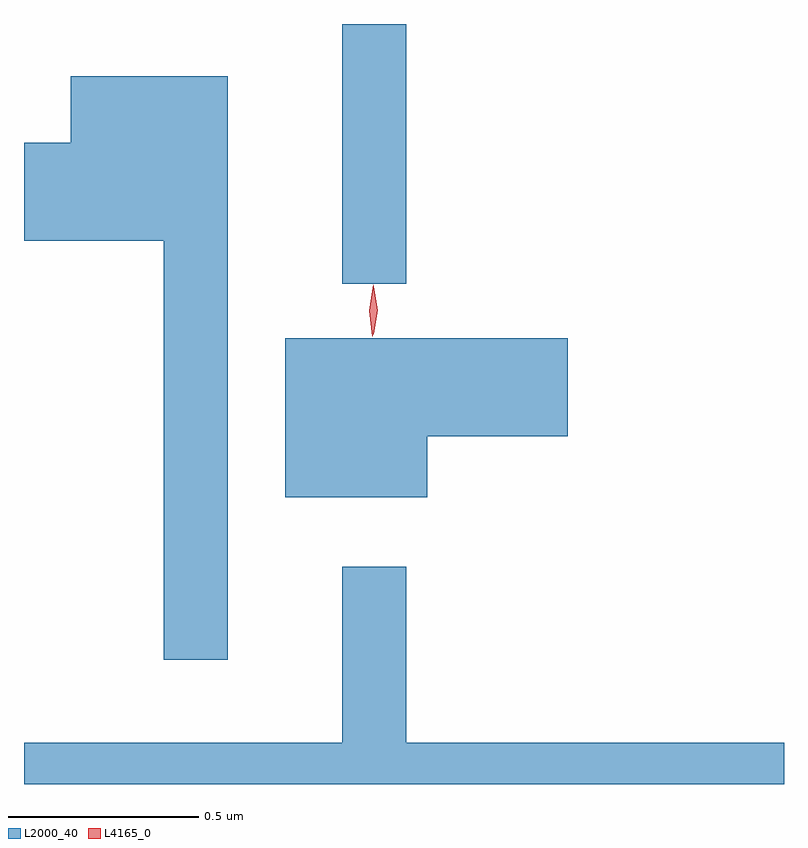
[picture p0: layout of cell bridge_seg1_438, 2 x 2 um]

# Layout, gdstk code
import gdstk
lib = gdstk.Library(unit=1e-6, precision=1e-09)
def R(c, l, rs):  # rectangles x0, y0, x1, y1
    for r in rs: c.add(gdstk.rectangle(r[:2], r[2:], *l))
def P(c, l, *ps):  # polygons
    for p in ps: c.add(gdstk.Polygon(p, *l))
L2000_40 = (2000, 40)
L4165_0 = (4165, 0)

bridge_seg1_438 = lib.new_cell('bridge_seg1_438')
R(bridge_seg1_438, L2000_40, [(319.241,941.013,319.409,941.696)])
P(bridge_seg1_438, L2000_40, [(318.939,941.559),(318.526,941.559),(318.526,941.384),(318.403,941.384),(318.403,941.126),(318.771,941.126),(318.771,940.023),(318.939,940.023)],
  [(319.464,940.611),(319.834,940.611),(319.834,940.869),(319.091,940.869),(319.091,940.451),(319.464,940.451)],
  [(320.403,939.804),(319.409,939.804),(319.409,940.268),(319.241,940.268),(319.241,939.804),(318.403,939.804),(318.403,939.696),(320.403,939.696)])
P(bridge_seg1_438, L4165_0, [(319.323,940.88),(319.314,940.943),(319.323,941.006),(319.324,941.007),(319.324,941.006),(319.334,940.943),(319.324,940.88),(319.324,940.88)],
  [(319.32,940.874),(319.32,940.874),(319.311,940.942),(319.322,941.01),(319.322,941.01),(319.322,941.01),(319.331,940.942),(319.321,940.874)])

lib.write_gds('bridge_seg1_438.gds')
